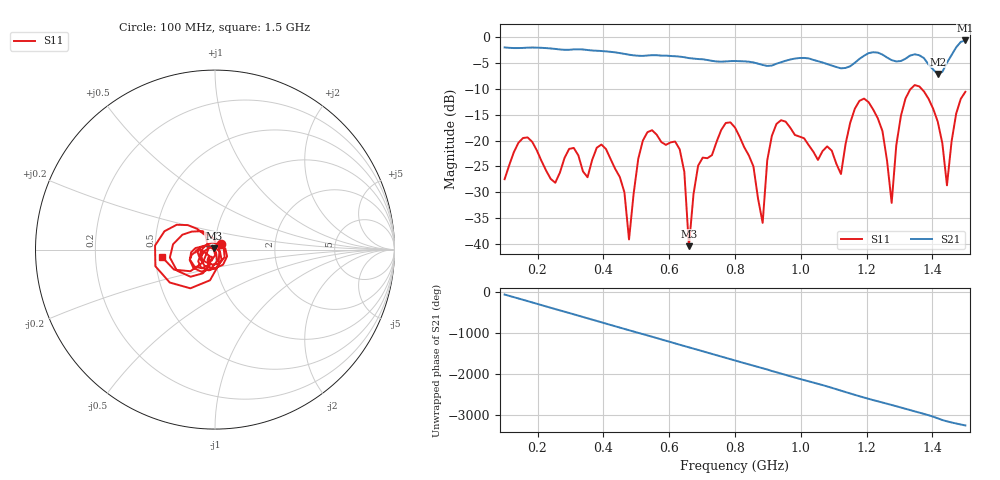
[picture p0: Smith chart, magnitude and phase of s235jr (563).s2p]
! NanoVNA-App
! Date: 2025-09-25 15:08:33
! Start: 100MHz Stop: 1,5GHz Points: 101
! S-Parameter data: F S11 S21 S12 S22
# Hz S RI R 50
!  Frequency  S11_Real  S11_Imag  S21_Real  S21_Imag  S12_Real  S12_Imag  S22_Real  S22_Imag
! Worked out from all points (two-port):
!   101 points, 100 MHz to 1.5 GHz, reference 50 ohm
!   highest |S21| = -0.61 dB at 1.5 GHz (marker M1); lowest = -7.1 dB at 1.416 GHz (marker M2)
!   |S21| within 3 dB of the highest: start of sweep to 602.5 MHz; 1.191 GHz to 1.255 GHz (63.39 MHz wide, 5.18 % of centre) (the widest 2 of 4)
!   lowest |S11| = -40.4 dB at 660 MHz (marker M3), VSWR 1.02, Z = 49.3 + j0.611 ohm
!   |S11| at or under -10 dB: start of sweep to 1.334 GHz; 1.367 GHz to end of sweep
!   S12 and S22 are empty: the file has one direction only
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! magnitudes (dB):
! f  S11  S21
! 100 MHz  -27.5  -2.0
! 170 MHz  -19.4  -2.0
! 338 MHz  -26.0  -2.4
! 408 MHz  -21.6  -2.7
! 478 MHz  -39.1  -3.4
! 520 MHz  -20.0  -3.6
! 576 MHz  -20.3  -3.5
! 632 MHz  -21.7  -3.7
! 660 MHz  -40.4  -4.0
! 688 MHz  -24.8  -4.2
! 800 MHz  -17.5  -4.6
! 884 MHz  -35.9  -5.3
! 926 MHz  -16.8  -5.1
! 1.038 GHz  -22.1  -4.4
! 1.122 GHz  -26.5  -6.0
! 1.192 GHz  -11.9  -3.6
! 1.248 GHz  -18.1  -3.3
! 1.276 GHz  -32.1  -4.4
! 1.332 GHz  -10.1  -3.5
! 1.416 GHz  -16.3  -7.1
! 1.444 GHz  -28.7  -4.9
! 1.5 GHz  -10.6  -0.6
